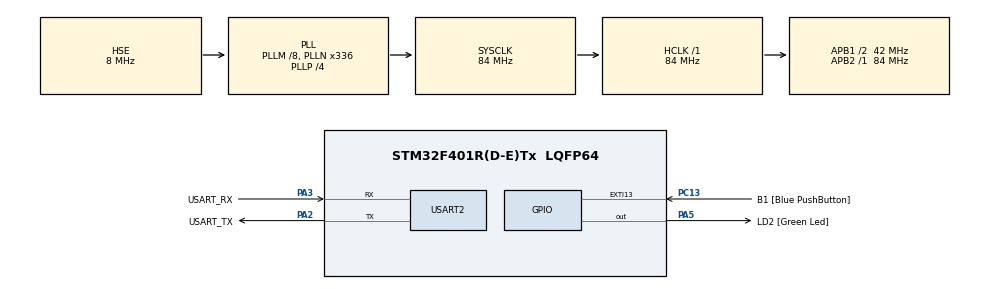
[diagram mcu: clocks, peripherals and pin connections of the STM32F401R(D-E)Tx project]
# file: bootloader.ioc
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Mcu.Family=STM32F4
Mcu.Name=STM32F401R(D-E)Tx
Mcu.Package=LQFP64
NVIC.PriorityGroup=NVIC_PRIORITYGROUP_4
PA13.GPIO_Label=TMS
PA13.Mode=Trace_Asynchronous_SW
PA13.Signal=SYS_JTMS-SWDIO
PA14.GPIO_Label=TCK
PA14.Mode=Trace_Asynchronous_SW
PA14.Signal=SYS_JTCK-SWCLK
PA2.GPIO_Label=USART_TX
PA2.GPIO_Mode=GPIO_MODE_AF_PP
PA2.GPIO_PuPd=GPIO_NOPULL
PA2.GPIO_Speed=GPIO_SPEED_FREQ_LOW
PA2.Mode=Asynchronous
PA2.Signal=USART2_TX
PA3.GPIO_Label=USART_RX
PA3.GPIO_Mode=GPIO_MODE_AF_PP
PA3.GPIO_PuPd=GPIO_NOPULL
PA3.GPIO_Speed=GPIO_SPEED_FREQ_LOW
PA3.Mode=Asynchronous
PA3.Signal=USART2_RX
PA5.GPIO_Label=LD2 [Green Led]
PA5.GPIO_Mode=GPIO_MODE_OUTPUT_PP
PA5.GPIO_PuPd=GPIO_NOPULL
PA5.GPIO_Speed=GPIO_SPEED_FREQ_LOW
PA5.Signal=GPIO_Output
PB3.GPIO_Label=SWO
PB3.Mode=Trace_Asynchronous_SW
PB3.Signal=SYS_JTDO-SWO
PC13-ANTI_TAMP.GPIO_Label=B1 [Blue PushButton]
PC13-ANTI_TAMP.GPIO_ModeDefaultEXTI=GPIO_MODE_IT_FALLING
PC13-ANTI_TAMP.GPIO_PuPd=GPIO_NOPULL
PC13-ANTI_TAMP.Signal=GPXTI13
PC14-OSC32_IN.Mode=LSE-External-Oscillator
PC14-OSC32_IN.Signal=RCC_OSC32_IN
PC15-OSC32_OUT.Mode=LSE-External-Oscillator
PC15-OSC32_OUT.Signal=RCC_OSC32_OUT
PH0\ -\ OSC_IN.Mode=HSE-External-Clock-Source
PH0\ -\ OSC_IN.Signal=RCC_OSC_IN
PH1\ -\ OSC_OUT.Mode=HSE-External-Clock-Source
PH1\ -\ OSC_OUT.Signal=RCC_OSC_OUT
ProjectManager.HeapSize=0x200
ProjectManager.StackSize=0x400
ProjectManager.TargetToolchain=CMake
RCC.48MHZClocksFreq_Value=48000000
RCC.AHBFreq_Value=84000000
RCC.APB1CLKDivider=RCC_HCLK_DIV2
RCC.APB1Freq_Value=42000000
RCC.APB1TimFreq_Value=84000000
RCC.APB2Freq_Value=84000000
RCC.APB2TimFreq_Value=84000000
RCC.CortexFreq_Value=84000000
RCC.HCLKFreq_Value=84000000
RCC.HSE_VALUE=8000000
RCC.HSI_VALUE=16000000
RCC.PLLM=8
RCC.PLLN=336
RCC.PLLP=RCC_PLLP_DIV4
RCC.PLLQ=7
RCC.PLLSourceVirtual=RCC_PLLSOURCE_HSE
RCC.SYSCLKFreq_VALUE=84000000
RCC.SYSCLKSource=RCC_SYSCLKSOURCE_PLLCLK
RCC.VCOOutputFreq_Value=336000000
USART2.VirtualMode=VM_ASYNC
board=NUCLEO-F401RE

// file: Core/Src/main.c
/* USER CODE BEGIN Header */
/**
 ******************************************************************************
 * @file           : main.c
 * @brief          : Main program body
 ******************************************************************************
 * @attention
 *
 * Copyright (c) 2025 STMicroelectronics.
 * All rights reserved.
 *
 * This software is licensed under terms that can be found in the LICENSE file
 * in the root directory of this software component.
 * If no LICENSE file comes with this software, it is provided AS-IS.
 *
 ******************************************************************************
 */
/* USER CODE END Header */
#include "main.h"

/* USER CODE BEGIN Includes */
#include "flash_app_handler.h"
#include "ota_update.h"
#include <stdio.h>

/* USER CODE END Includes */

/* USER CODE BEGIN PD */
#define VERSION_MAJOR 0
#define VERSION_MINOR 3
#define NEW_FIRMWARE  0x34

/* USER CODE END PD */

/* USER CODE BEGIN PM */
#define BCKUP_FAIL	  0
#define BCKUP_SUCCESS 1
/* USER CODE END PM */

UART_HandleTypeDef huart2;

/* USER CODE BEGIN PV */
const uint8_t BL_Version[2] = {VERSION_MAJOR, VERSION_MINOR};
/* USER CODE END PV */

void SystemClock_Config(void);
static void MX_GPIO_Init(void);
static void MX_USART2_UART_Init(void);
/* USER CODE BEGIN PFP */
static void goto_application(uint32_t app_base_addr);
static uint8_t restore_backup(Flash_Config_t *curr_config);
/* USER CODE END PFP */

/* USER CODE BEGIN 0 */
int _write(int file, char *ptr, int len)
{
	(void)file;
	int DataIdx;

	for (DataIdx = 0; DataIdx < len; DataIdx++)
	{
		//__io_putchar(*ptr++);
		if (HAL_UART_Transmit(&huart2, (uint8_t *)ptr++, 1, HAL_MAX_DELAY) != HAL_OK)
			return DataIdx;
	}
	return len;
}
/* USER CODE END 0 */

int main(void)
{

	/* MCU Configuration--------------------------------------------------------*/

	/* Reset of all peripherals, Initializes the Flash interface and the Systick. */
	HAL_Init();

	/* Configure the system clock */
	SystemClock_Config();

	/* Initialize all configured peripherals */
	MX_GPIO_Init();
	MX_USART2_UART_Init();
	/* USER CODE BEGIN 2 */
	printf("Starting Bootloader v%d.%d\r\n", BL_Version[0], BL_Version[1]);
	uint8_t rcv_buff = 0;
	Flash_Config_t curr_config = {0};
	// Gets the current configuration stored in the Flash Memory
	if (Flash_GetConfig(&curr_config) != FLASH_APP_OK)
	{
		printf("Error getting current config from flash\r\n");
		Error_Handler();
	}
	// When Full Flash Erase the value in the Flash should be 0xFFFFFFFF
	// Anything else means someone could've changed the value
	if (curr_config.first_boot != FIRST_BOOT_FALSE && curr_config.first_boot != FIRST_BOOT_TRUE)
	{
		// Possible Tamper detected??
		// TODO implement something here
		printf("Unknown first boot\r\n");
		curr_config.first_boot = FIRST_BOOT_TRUE;
	}
	// When application is running and needs to go back into
	// boot mode for new firmware, this flag can be set
	// in the RTC backup register and then do a software reset
	uint8_t firmware_flag_set = RTC->BKP0R & 0x01;
	// Checks for normal boot and waits for any UART commands being sent
	if (curr_config.first_boot == FIRST_BOOT_FALSE && !firmware_flag_set)
	{
		printf("Listening for UART Commands\r\n");
		HAL_UART_Receive(&huart2, &rcv_buff, 1, 3000);
	}
	// Firmware update mode
	if (firmware_flag_set || rcv_buff == NEW_FIRMWARE || curr_config.first_boot == FIRST_BOOT_TRUE)
	{
		if (curr_config.first_boot == FIRST_BOOT_TRUE)
		{
			printf("First Boot Detected\r\n");
		}
		// clears the application firmware_flag
		if (firmware_flag_set)
		{
			printf("New Firmware Flag Set\r\n");
			PWR->CR |= PWR_CR_DBP;
			RTC->BKP0R = (uint32_t)0;
			PWR->CR &= ~PWR_CR_DBP;
		}
		printf("Starting firmware download\r\n");
		// in case invalid address memory in Flash Config, set to SLOT0
		uint32_t new_app_addr = MAIN_APP_SLOT_ADDR;
		printf("Writing to Main Application Slot\r\n");
		// downloads and flash the firmware
		if (ota_download_and_flash(new_app_addr) != OTA_OK)
		{
			printf("OTA Update: ERROR!!\r\n");
			printf("Checking Backup\r\n");
			restore_backup(&curr_config);
			if (Flash_WriteConfig(curr_config) != FLASH_APP_OK)
			{
				printf("Error setting invalid status flag\r\n");
				Error_Handler();
			}
			printf("Rebooting and running previous firmware\r\n");
			HAL_NVIC_SystemReset();
		}
		else
		{
			// if sucessful calculate CRC using STM32 CRC peripheral
			uint8_t crc_value = 0;
			if (Flash_CalculateCRC(new_app_addr, &crc_value) != FLASH_APP_OK)
			{
				printf("Invalid Address for CRC Calculation\r\n");
				Error_Handler();
			}
			// sets new configuration
			curr_config.first_boot = FIRST_BOOT_FALSE;
			curr_config.slot0_crc = crc_value;
			if (Flash_CopySector(MAIN_APP_SLOT_ADDR, BCKUP_APP_SLOT_ADDR) != FLASH_APP_OK)
			{
				printf("Error copying new firmware to backup\r\n");
				Error_Handler();
			}
			if (Flash_CalculateCRC(BCKUP_APP_SLOT_ADDR, &crc_value) != FLASH_APP_OK)
			{
				printf("Invalid Address for CRC Calculation\r\n");
				Error_Handler();
			}
			if (crc_value == curr_config.slot0_crc)
				curr_config.slot1_crc = curr_config.slot0_crc;
			else
			{
				printf("Backup copy corrupted\r\n");
				Error_Handler();
			}
			// writes new config into the FLASH memory
			if (Flash_WriteConfig(curr_config) != FLASH_APP_OK)
			{
				printf("Error writing new config\r\n");
				Error_Handler();
			}
			printf("Firmware update is completed! Rebooting ... \r\n");
			HAL_NVIC_SystemReset();
		}
	}
	// CRC tamper detection
	uint8_t crc = 0;
	// Calculates Flash Appliction SLOT CRC for tamper detection
	if (Flash_CalculateCRC(MAIN_APP_SLOT_ADDR, &crc) != FLASH_APP_OK)
	{
		printf("Invalid Address for CRC Calculation\r\n");
		Error_Handler();
	}
	// compares calculated CRC to stored CRC
	if (crc != curr_config.slot0_crc)
	{
		printf("TAMPER DETECTED!!!\r\n");
		// Check Slot1 CRC and compare to stored CRC
		if (restore_backup(&curr_config) != BCKUP_SUCCESS)
		{
			printf("No valid firmware found in either Slot#\r\n");
			printf("Turning on First Boot Mode to receive firmware\r\n");
			curr_config.first_boot = FIRST_BOOT_TRUE;
		}
		if (Flash_WriteConfig(curr_config) != FLASH_APP_OK)
		{
			printf("Error writing new config\r\n");
			Error_Handler();
		}
		printf("Restarting System\r\n");
		HAL_NVIC_SystemReset();
	}
	goto_application(MAIN_APP_SLOT_ADDR);
	/* USER CODE END 2 */

	/* Infinite loop */
	while (1)
	{

	}
}

void SystemClock_Config(void)
{
	RCC_OscInitTypeDef RCC_OscInitStruct = {0};
	RCC_ClkInitTypeDef RCC_ClkInitStruct = {0};

	/** Configure the main internal regulator output voltage
	 */
	__HAL_RCC_PWR_CLK_ENABLE();
	__HAL_PWR_VOLTAGESCALING_CONFIG(PWR_REGULATOR_VOLTAGE_SCALE2);

	/** Initializes the RCC Oscillators according to the specified parameters
	 * in the RCC_OscInitTypeDef structure.
	 */
	RCC_OscInitStruct.OscillatorType = RCC_OSCILLATORTYPE_HSE;
	RCC_OscInitStruct.HSEState = RCC_HSE_BYPASS;
	RCC_OscInitStruct.PLL.PLLState = RCC_PLL_ON;
	RCC_OscInitStruct.PLL.PLLSource = RCC_PLLSOURCE_HSE;
	RCC_OscInitStruct.PLL.PLLM = 8;
	RCC_OscInitStruct.PLL.PLLN = 336;
	RCC_OscInitStruct.PLL.PLLP = RCC_PLLP_DIV4;
	RCC_OscInitStruct.PLL.PLLQ = 7;
	if (HAL_RCC_OscConfig(&RCC_OscInitStruct) != HAL_OK)
	{
		Error_Handler();
	}

	/** Initializes the CPU, AHB and APB buses clocks
	 */
	RCC_ClkInitStruct.ClockType = RCC_CLOCKTYPE_HCLK | RCC_CLOCKTYPE_SYSCLK | RCC_CLOCKTYPE_PCLK1 | RCC_CLOCKTYPE_PCLK2;
	RCC_ClkInitStruct.SYSCLKSource = RCC_SYSCLKSOURCE_PLLCLK;
	RCC_ClkInitStruct.AHBCLKDivider = RCC_SYSCLK_DIV1;
	RCC_ClkInitStruct.APB1CLKDivider = RCC_HCLK_DIV2;
	RCC_ClkInitStruct.APB2CLKDivider = RCC_HCLK_DIV1;

	if (HAL_RCC_ClockConfig(&RCC_ClkInitStruct, FLASH_LATENCY_2) != HAL_OK)
	{
		Error_Handler();
	}
}

static void MX_USART2_UART_Init(void)
{

	huart2.Instance = USART2;
	huart2.Init.BaudRate = 115200;
	huart2.Init.WordLength = UART_WORDLENGTH_8B;
	huart2.Init.StopBits = UART_STOPBITS_1;
	huart2.Init.Parity = UART_PARITY_NONE;
	huart2.Init.Mode = UART_MODE_TX_RX;
	huart2.Init.HwFlowCtl = UART_HWCONTROL_NONE;
	huart2.Init.OverSampling = UART_OVERSAMPLING_16;
	if (HAL_UART_Init(&huart2) != HAL_OK)
	{
		Error_Handler();
	}
}

static void MX_GPIO_Init(void)
{
	GPIO_InitTypeDef GPIO_InitStruct = {0};

	/* GPIO Ports Clock Enable */
	__HAL_RCC_GPIOC_CLK_ENABLE();
	__HAL_RCC_GPIOH_CLK_ENABLE();
	__HAL_RCC_GPIOA_CLK_ENABLE();
	__HAL_RCC_GPIOB_CLK_ENABLE();

	/*Configure GPIO pin Output Level */
	HAL_GPIO_WritePin(LD2_GPIO_Port, LD2_Pin, GPIO_PIN_RESET);

	/*Configure GPIO pin : B1_Pin */
	GPIO_InitStruct.Pin = B1_Pin;
	GPIO_InitStruct.Mode = GPIO_MODE_IT_FALLING;
	GPIO_InitStruct.Pull = GPIO_NOPULL;
	HAL_GPIO_Init(B1_GPIO_Port, &GPIO_InitStruct);

	/*Configure GPIO pin : LD2_Pin */
	GPIO_InitStruct.Pin = LD2_Pin;
	GPIO_InitStruct.Mode = GPIO_MODE_OUTPUT_PP;
	GPIO_InitStruct.Pull = GPIO_NOPULL;
	GPIO_InitStruct.Speed = GPIO_SPEED_FREQ_LOW;
	HAL_GPIO_Init(LD2_GPIO_Port, &GPIO_InitStruct);

}

/* USER CODE BEGIN 4 */
static void goto_application(uint32_t app_base_addr)
{
	void (*app_handler)(void) = (void (*)(void))(*(volatile uint32_t *)(app_base_addr + 4));
	HAL_GPIO_WritePin(LD2_GPIO_Port, LD2_Pin, GPIO_PIN_SET);
	HAL_Delay(500);
	HAL_GPIO_WritePin(LD2_GPIO_Port, LD2_Pin, GPIO_PIN_RESET);
	//__disable_irq();
	HAL_UART_DeInit(&huart2);
	HAL_GPIO_DeInit(GPIOA, GPIO_PIN_2 | GPIO_PIN_3);
	HAL_GPIO_DeInit(LD2_GPIO_Port, LD2_Pin);
	HAL_DeInit();
	__set_MSP(*(volatile uint32_t *)app_base_addr);
	app_handler();
}

static uint8_t restore_backup(Flash_Config_t *curr_config)
{
	uint8_t crc = 0;
	if (Flash_CalculateCRC(BCKUP_APP_SLOT_ADDR, &crc) != FLASH_APP_OK)
	{
		printf("Invalid Address for CRC Calculation\r\n");
		Error_Handler();
	}
	if (crc == curr_config->slot1_crc)
	{
		printf("Backup Slot has valid firmware\r\n");
		printf("Copying backup firmware to Main Application Slot\r\n");
		if (Flash_CopySector(BCKUP_APP_SLOT_ADDR, MAIN_APP_SLOT_ADDR) != FLASH_APP_OK)
		{
			printf("Copy failed\r\n");
			Error_Handler();
		}
		if (Flash_CalculateCRC(MAIN_APP_SLOT_ADDR, &crc) != FLASH_APP_OK)
		{
			printf("Invalid Address for CRC Calculation\r\n");
			Error_Handler();
		}
		if (crc != curr_config->slot1_crc)
		{
			printf("Copying Corrupted\r\n");
			Error_Handler();
		}
		else
		{
			curr_config->slot0_crc = curr_config->slot1_crc;
		}
		return BCKUP_SUCCESS;
	}
	else
	{
		return BCKUP_FAIL;
	}
}
/* USER CODE END 4 */

void Error_Handler(void)
{
	__disable_irq();
	while (1)
	{
	}
}

#ifdef USE_FULL_ASSERT
/**
 * @brief  Reports the name of the source file and the source line number
 *         where the assert_param error has occurred.
 * @param  file: pointer to the source file name
 * @param  line: assert_param error line source number
 * @retval None
 */
void assert_failed(uint8_t *file, uint32_t line)
{
	/* USER CODE BEGIN 6 */
	/* User can add his own implementation to report the file name and line
	   number, ex: printf("Wrong parameters value: file %s on line %d\r\n", file,
	   line) */
	/* USER CODE END 6 */
}
#endif /* USE_FULL_ASSERT */
